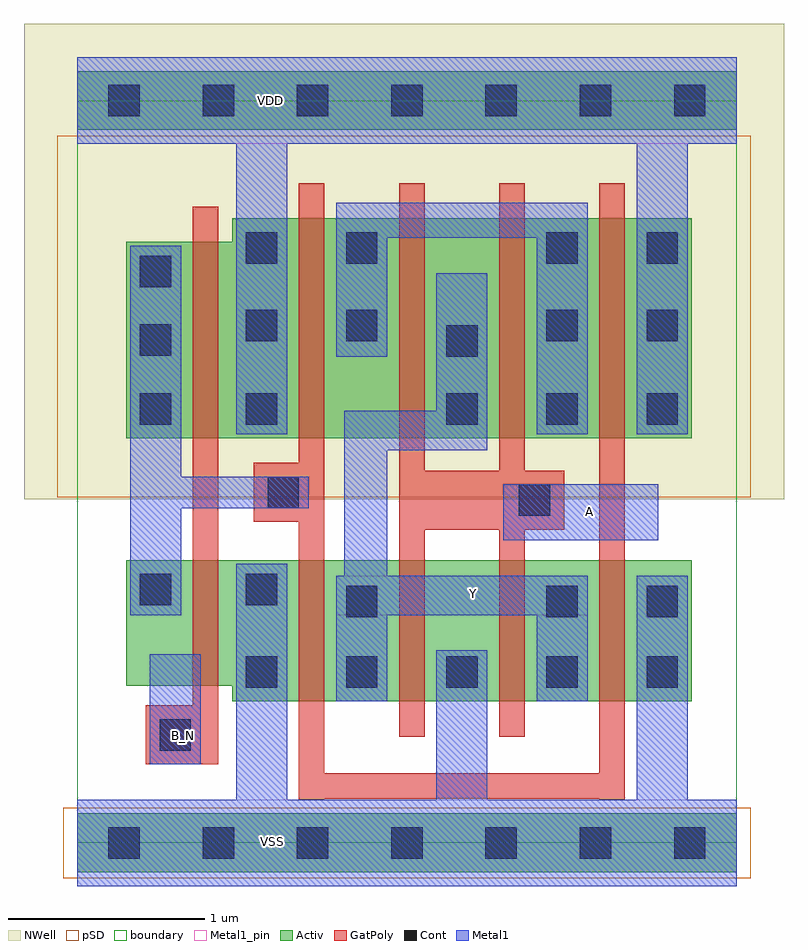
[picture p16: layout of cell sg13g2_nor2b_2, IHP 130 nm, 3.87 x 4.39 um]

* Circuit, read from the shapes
.subckt sg13g2_nor2b_2 A B_N VDD VSS Y
XM1 VSS B_N n1 VSS sg13_lv_nmos w=0.64u l=0.13u
XM2 Y n1 VSS VSS sg13_lv_nmos w=0.72u l=0.13u m=2
XM3 VSS A Y VSS sg13_lv_nmos w=0.72u l=0.13u m=2
XM4 VDD B_N n1 VDD sg13_lv_pmos w=1u l=0.13u
XM5 n2 n1 VDD VDD sg13_lv_pmos w=1.12u l=0.13u m=2
XM6 Y A n2 VDD sg13_lv_pmos w=1.12u l=0.13u m=2
.ends

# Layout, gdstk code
import gdstk
lib = gdstk.Library(unit=1e-6, precision=1e-09)
def R(c, l, rs):  # rectangles x0, y0, x1, y1
    for r in rs: c.add(gdstk.rectangle(r[:2], r[2:], *l))
def A(c, l, x, y, w, h, nx, ny, dx, dy):  # array of equal rectangles
    R(c, l, [(x+i*dx, y+j*dy, x+i*dx+w, y+j*dy+h) for i in range(nx) for j in range(ny)])
def P(c, l, *ps):  # polygons
    for p in ps: c.add(gdstk.Polygon(p, *l))
Activ = (1, 0)
GatPoly = (5, 0)
Cont = (6, 0)
Metal1 = (8, 0)
Metal1_pin = (8, 2)
pSD = (14, 0)
NWell = (31, 0)
boundary = (189, 4)

sg13g2_nor2b_2 = lib.new_cell('sg13g2_nor2b_2')
R(sg13g2_nor2b_2, Activ, [(0,-0.15,3.36,0.15), (0,3.63,3.36,3.93)])
P(sg13g2_nor2b_2, Activ, [(0.25,2.06),(0.25,3.06),(0.79,3.06),(0.79,3.18),(3.13,3.18),(3.13,2.06)],
  [(0.79,0.72),(0.79,0.8),(0.25,0.8),(0.25,1.44),(3.13,1.44),(3.13,0.72)])
P(sg13g2_nor2b_2, GatPoly, [(1.64,0.54),(1.64,3.36),(1.77,3.36),(1.77,1.895),(2.15,1.895),(2.15,3.36),(2.28,3.36),(2.28,1.895),(2.48,1.895),(2.48,1.595),(2.28,1.595),(2.28,0.54),(2.15,0.54),(2.15,1.595),(1.77,1.595),(1.77,0.54)],
  [(0.35,0.4),(0.35,0.7),(0.59,0.7),(0.59,3.24),(0.72,3.24),(0.72,0.4)],
  [(1.13,0.22),(1.13,1.635),(0.9,1.635),(0.9,1.935),(1.13,1.935),(1.13,3.36),(1.26,3.36),(1.26,0.355),(2.66,0.355),(2.66,3.36),(2.79,3.36),(2.79,0.22),(2.66,0.22),(2.66,0.225),(1.26,0.225),(1.26,0.22)])
A(sg13g2_nor2b_2, Cont, 0.16, -0.08, 0.16, 0.16, 7, 2, 0.48, 3.78)
A(sg13g2_nor2b_2, Cont, 0.86, 0.79, 0.16, 0.16, 5, 1, 0.51, 0)
A(sg13g2_nor2b_2, Cont, 0.32, 2.13, 0.16, 0.16, 1, 3, 0, 0.35)
A(sg13g2_nor2b_2, Cont, 1.88, 2.13, 0.16, 0.16, 3, 1, 0.51, 0)
R(sg13g2_nor2b_2, Cont, [(0.42,0.47,0.58,0.63), (1.37,1.15,1.53,1.31), (2.39,1.15,2.55,1.31), (2.9,1.15,3.06,1.31), (0.32,1.21,0.48,1.37), (0.86,1.21,1.02,1.37), (2.25,1.665,2.41,1.825), (0.97,1.705,1.13,1.865), (0.86,2.13,1.02,2.29), (1.88,2.475,2.04,2.635), (0.86,2.555,1.02,2.715), (1.37,2.555,1.53,2.715), (2.39,2.555,2.55,2.715), (2.9,2.555,3.06,2.715), (0.86,2.95,1.02,3.11), (1.37,2.95,1.53,3.11), (2.39,2.95,2.55,3.11), (2.9,2.95,3.06,3.11)])
R(sg13g2_nor2b_2, Metal1, [(0.37,0.4,0.63,0.96), (2.17,1.54,2.96,1.825)])
P(sg13g2_nor2b_2, Metal1, [(2.34,2.08),(2.34,3.08),(1.58,3.08),(1.58,2.475),(1.32,2.475),(1.32,3.26),(2.6,3.26),(2.6,2.08)],
  [(1.32,0.72),(1.32,1.36),(1.36,1.36),(1.36,2.2),(1.83,2.2),(1.83,2.9),(2.09,2.9),(2.09,2),(1.58,2),(1.58,1.36),(2.6,1.36),(2.6,0.72),(2.34,0.72),(2.34,1.16),(1.58,1.16),(1.58,0.72)],
  [(0.27,1.16),(0.27,3.04),(0.53,3.04),(0.53,1.865),(1.18,1.865),(1.18,1.705),(0.53,1.705),(0.53,1.16)],
  [(0.81,2.08),(0.81,3.56),(0,3.56),(0,4),(3.36,4),(3.36,3.56),(3.11,3.56),(3.11,2.08),(2.85,2.08),(2.85,3.56),(1.07,3.56),(1.07,2.08)],
  [(0,-0.22),(0,0.22),(0.81,0.22),(0.81,1.42),(1.07,1.42),(1.07,0.22),(1.83,0.22),(1.83,0.98),(2.09,0.98),(2.09,0.22),(2.85,0.22),(2.85,1.36),(3.11,1.36),(3.11,0.22),(3.36,0.22),(3.36,-0.22)])
R(sg13g2_nor2b_2, Metal1_pin, [(0,-0.22,3.36,0.22), (0.37,0.4,0.63,0.96), (1.32,1.16,2.6,1.36), (2.17,1.54,2.96,1.825), (0,3.56,3.36,4)])
R(sg13g2_nor2b_2, pSD, [(-0.07,-0.18,3.43,0.18), (-0.1,1.76,3.43,3.6)])
R(sg13g2_nor2b_2, NWell, [(-0.27,1.75,3.6,4.17)])
R(sg13g2_nor2b_2, boundary, [(0,0,3.36,3.78)])
sg13g2_nor2b_2.add(gdstk.Label('VSS', (0.995,0.005), layer=8, texttype=25))
sg13g2_nor2b_2.add(gdstk.Label('Y', (2.02,1.27), layer=8, texttype=25))
sg13g2_nor2b_2.add(gdstk.Label('VDD', (0.985,3.78), layer=8, texttype=25))
sg13g2_nor2b_2.add(gdstk.Label('B_N', (0.54,0.545), layer=8, texttype=25))
sg13g2_nor2b_2.add(gdstk.Label('A', (2.61,1.685), layer=8, texttype=25))

lib.write_gds('sg13g2_nor2b_2.gds')
